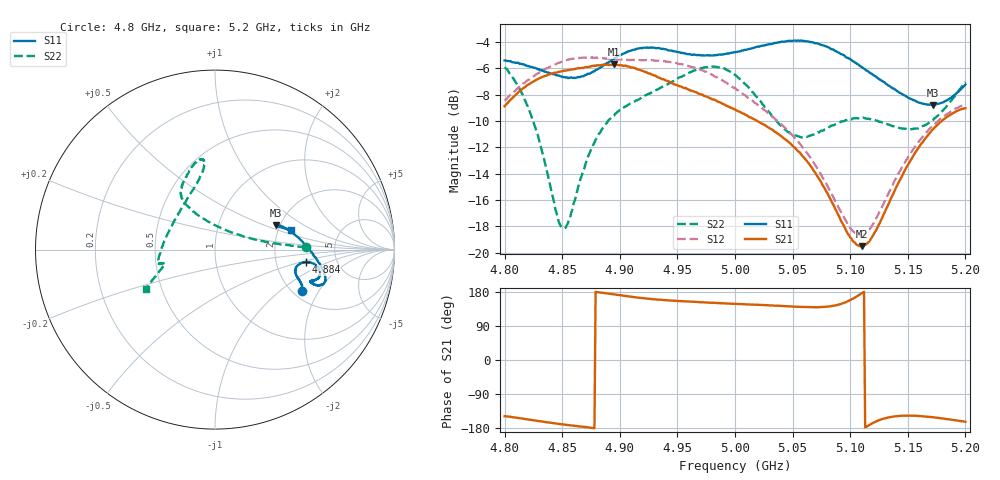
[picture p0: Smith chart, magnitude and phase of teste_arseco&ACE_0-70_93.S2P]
! Network Analyzer HP8722D
! Hewlett-Packard
! Data name: Linha & Wilkinson
! Saver's name: Rodrigo Anjos
! Comments: Teste da utilização de aquisição
! continua pelo VNA HP8722D
! Time and date: 8/5/2025 13:32
!  Frequency  S11  S21  S12  S22
# HZ  S  MA R 50
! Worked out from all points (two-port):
!   401 points, 4.8 GHz to 5.2 GHz, reference 50 ohm
!   highest |S21| = -5.70 dB at 4.895 GHz (marker M1); lowest = -19.5 dB at 5.11 GHz (marker M2)
!   |S21| within 3 dB of the highest: 4.802 GHz to 4.99 GHz (187.8 MHz wide, 3.84 % of centre)
!   lowest |S11| = -8.8 dB at 5.172 GHz (marker M3), VSWR 2.15, Z = 95.1 + j29.6 ohm
!   |S11| at or under -10 dB: nowhere
!   |S22| runs from -18.1 to -5.8 dB; largest |S21 - S12| = 1.1
!   S11 on the Smith chart (normalised r, x): 4.8 GHz: 2.22, -1.45; 4.884 GHz: 2.96, -0.57; 5.2 GHz: 2.33, +0.63
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4.8e9  0.5369 -25.7  0.3602 -148.2  0.3775 11.2  0.5064 1.6
4.814e9  0.5216 -22.2  0.4144 -153.8  0.4322 9.3  0.4101 3.4
4.824e9  0.5063 -20.5  0.4439 -158.5  0.4638 7.8  0.3223 6.4
4.849e9  0.4669 -16.5  0.4881 -169.4  0.5301 4.0  0.1258 56.4
4.855e9  0.4604 -14.7  0.4931 -171.7  0.5408 2.8  0.1295 83.8
4.867e9  0.4675 -11.0  0.5034 -175.9  0.5494 1.2  0.1962 113.0
4.884e9  0.5095 -8.0  0.5163 177.7  0.5475 -0.2  0.2917 122.5
4.895e9  0.5456 -7.9  0.5187 173.3  0.5412 -0.1  0.3315 122.9
4.916e9  0.5957 -11.6  0.496 164.6  0.5377 0.2  0.3811 119.6
4.934e9  0.5989 -15.5  0.462 159.0  0.5359 -0.9  0.4195 114.2
4.975e9  0.5615 -18.5  0.3918 151.8  0.4869 -4.5  0.5064 100.0
5e9  0.5767 -19.0  0.35 148.1  0.4224 -4.6  0.4744 97.4
5.018e9  0.6023 -19.1  0.3185 146.0  0.3688 -1.9  0.3938 103.9
5.046e9  0.637 -16.9  0.2643 141.7  0.2914 4.0  0.2871 134.0
5.067e9  0.6299 -13.2  0.2096 139.1  0.2247 9.7  0.2798 164.4
5.099e9  0.5459 -2.7  0.1165 156.3  0.1263 37.7  0.3207 -169.8
5.11e9  0.5069 2.5  0.1059 176.0  0.1168 59.7  0.3244 -166.9
5.119e9  0.4777 7.0  0.1147 -167.3  0.1269 77.1  0.3206 -165.5
5.134e9  0.4299 14.3  0.1556 -150.9  0.1708 94.8  0.3062 -165.7
5.152e9  0.3847 20.3  0.2225 -146.9  0.2367 101.8  0.2937 -164.5
5.172e9  0.3644 21.7  0.2943 -151.2  0.3044 103.3  0.3194 -159.9
5.2e9  0.4352 14.6  0.3538 -162.9  0.3665 103.6  0.4449 -150.1
